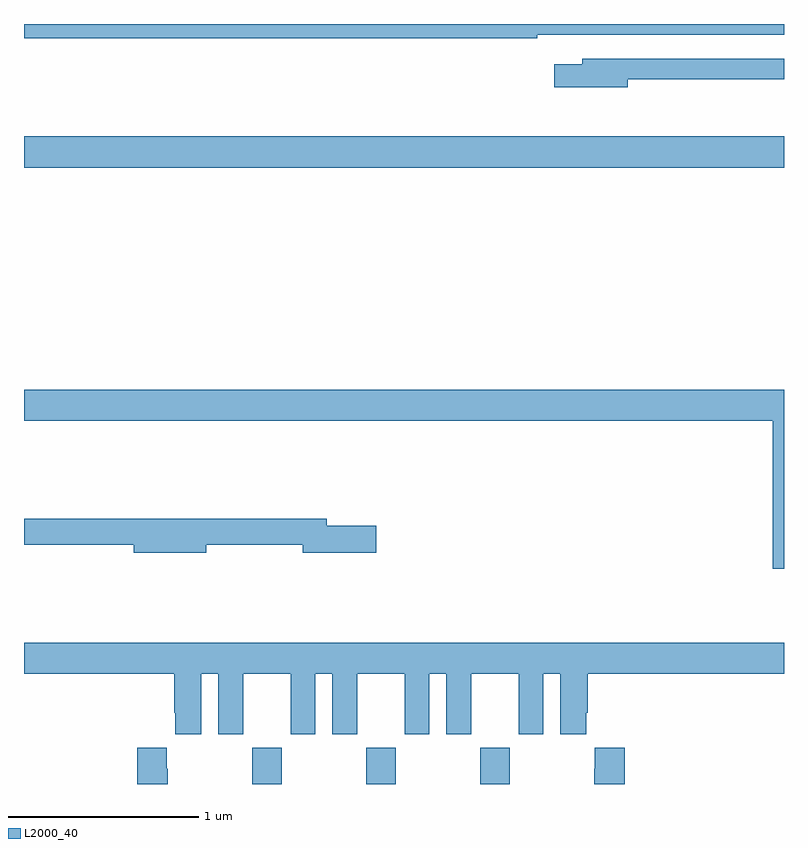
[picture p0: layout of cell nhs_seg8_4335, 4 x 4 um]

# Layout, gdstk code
import gdstk
lib = gdstk.Library(unit=1e-6, precision=1e-09)
def R(c, l, rs):  # rectangles x0, y0, x1, y1
    for r in rs: c.add(gdstk.rectangle(r[:2], r[2:], *l))
def A(c, l, x, y, w, h, nx, ny, dx, dy):  # array of equal rectangles
    R(c, l, [(x+i*dx, y+j*dy, x+i*dx+w, y+j*dy+h) for i in range(nx) for j in range(ny)])
def P(c, l, *ps):  # polygons
    for p in ps: c.add(gdstk.Polygon(p, *l))
L2000_40 = (2000, 40)

nhs_seg8_4335 = lib.new_cell('nhs_seg8_4335')
A(nhs_seg8_4335, L2000_40, 376.201, 1135.9, 0.155, 0.192, 3, 1, 0.6, 0)
R(nhs_seg8_4335, L2000_40, [(375,1139.144,379,1139.308)])
P(nhs_seg8_4335, L2000_40, [(377.702,1139.844),(379,1139.844),(379,1139.9),(375,1139.9),(375,1139.824),(377.702,1139.824)],
  [(378.178,1139.61),(379,1139.61),(379,1139.718),(377.939,1139.718),(377.939,1139.689),(377.79,1139.689),(377.79,1139.567),(378.178,1139.567)],
  [(379,1137.976),(375,1137.976),(375,1137.812),(378.941,1137.812),(378.941,1137.033),(379,1137.033)],
  [(375.958,1137.16),(376.466,1137.16),(376.466,1137.118),(376.855,1137.118),(376.855,1137.26),(376.594,1137.26),(376.594,1137.296),(375,1137.296),(375,1137.16),(375.578,1137.16),(375.578,1137.118),(375.958,1137.118)],
  [(375.934,1136.48),(376.022,1136.48),(376.022,1136.163),(376.153,1136.163),(376.153,1136.48),(376.403,1136.48),(376.403,1136.163),(376.534,1136.163),(376.534,1136.48),(376.622,1136.48),(376.622,1136.163),(376.753,1136.163),(376.753,1136.48),(377.003,1136.48),(377.003,1136.163),(377.134,1136.163),(377.134,1136.48),(377.222,1136.48),(377.222,1136.163),(377.353,1136.163),(377.353,1136.48),(377.603,1136.48),(377.603,1136.163),(377.734,1136.163),(377.734,1136.48),(377.822,1136.48),(377.822,1136.163),(377.959,1136.163),(377.959,1136.275),(377.966,1136.275),(377.966,1136.48),(379,1136.48),(379,1136.644),(375,1136.644),(375,1136.48),(375.791,1136.48),(375.791,1136.275),(375.797,1136.275),(375.797,1136.163),(375.934,1136.163)],
  [(378.161,1136.092),(378.005,1136.092),(378.005,1135.979),(378.001,1135.979),(378.001,1135.9),(378.161,1135.9)],
  [(375.756,1135.979),(375.751,1135.979),(375.751,1136.092),(375.596,1136.092),(375.596,1135.9),(375.756,1135.9)])

lib.write_gds('nhs_seg8_4335.gds')
